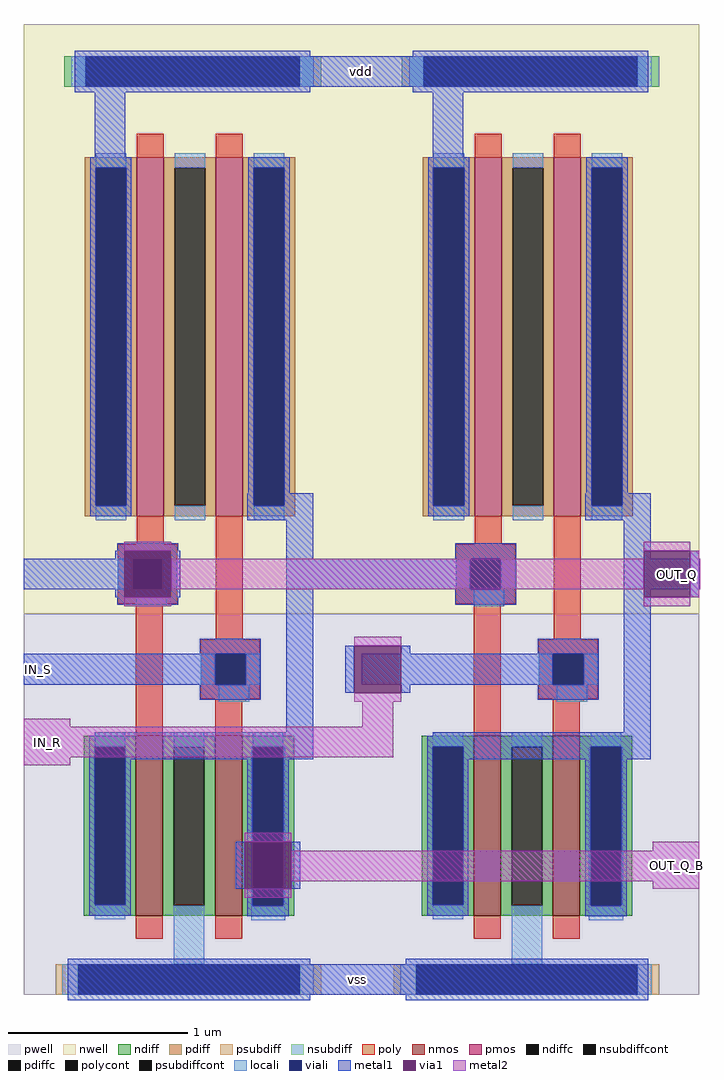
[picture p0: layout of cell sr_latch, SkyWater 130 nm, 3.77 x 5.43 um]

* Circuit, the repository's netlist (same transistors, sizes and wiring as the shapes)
* NGSPICE file created from sr_latch.ext - technology: sky130A

.subckt sky130_fd_pr__pfet_01v8_7P3MHC a_n15_n190# w_n140_n200# a_n73_n164# a_15_n164#
X0 a_15_n164# a_n15_n190# a_n73_n164# w_n140_n200# sky130_fd_pr__pfet_01v8 ad=0.58 pd=4.58 as=0.58 ps=4.58 w=2 l=0.15
.ends

.subckt nor IN_A OUT vdd vss IN_B
Xsky130_fd_pr__pfet_01v8_7P3MHC_1 IN_B vdd OUT sky130_fd_pr__pfet_01v8_7P3MHC_1/a_15_n164#
+ sky130_fd_pr__pfet_01v8_7P3MHC
Xsky130_fd_pr__pfet_01v8_7P3MHC_2 IN_A vdd sky130_fd_pr__pfet_01v8_7P3MHC_1/a_15_n164#
+ vdd sky130_fd_pr__pfet_01v8_7P3MHC
X0 OUT IN_B vss vss sky130_fd_pr__nfet_01v8 ad=0.29 pd=2.58 as=0.145 ps=1.29 w=1 l=0.15
X1 vss IN_A OUT vss sky130_fd_pr__nfet_01v8 ad=0.145 pd=1.29 as=0.29 ps=2.58 w=1 l=0.15
.ends

.subckt sr_latch IN_S OUT_Q_B vdd vss IN_R OUT_Q
XX_NOR_TOP OUT_Q OUT_Q_B vdd vss IN_S nor
XX_NOR_BOTTOM OUT_Q_B OUT_Q vdd vss IN_R nor
.ends

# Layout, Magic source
magic
tech sky130A
magscale 1 2
<< metal1 >>
rect -5951 1370 -5333 1404
rect -6020 811 -5986 845
rect -5918 802 -5908 854
rect -5856 802 -5846 854
rect -5340 802 -5330 854
rect -5278 802 -5268 854
rect -6020 705 -5986 739
rect -5662 696 -5652 748
rect -5600 696 -5590 748
rect -5784 478 -5774 530
rect -5722 478 -5712 530
rect -5959 360 -5333 394
<< via1 >>
rect -5908 802 -5856 854
rect -5330 802 -5278 854
rect -5652 696 -5600 748
rect -5774 478 -5722 530
<< metal2 >>
rect -5908 854 -5856 864
rect -5330 854 -5278 864
rect -5856 811 -5330 845
rect -5908 792 -5856 802
rect -5278 845 -5268 854
rect -5278 811 -5267 845
rect -5278 802 -5268 811
rect -5330 792 -5278 802
rect -5652 748 -5600 758
rect -5652 686 -5600 696
rect -6020 658 -5968 667
rect -5643 658 -5609 686
rect -6020 624 -5609 658
rect -6020 615 -5968 624
rect -5774 530 -5722 540
rect -5320 520 -5268 530
rect -5722 486 -5268 520
rect -5320 478 -5268 486
rect -5774 468 -5722 478
use nor  X_NOR_BOTTOM
transform 1 0 -4445 0 1 -180
box -1199 534 -823 1620
use nor  X_NOR_TOP
transform 1 0 -4821 0 1 -180
box -1199 534 -823 1620
<< labels >>
flabel metal2 -6020 615 -5968 667 3 FreeSans 320 0 0 0 IN_R
port 1 e default input
flabel metal1 -6020 705 -5986 739 3 FreeSans 320 0 0 0 IN_S
port 0 e default input
flabel metal2 -5320 802 -5268 854 7 FreeSans 320 0 0 0 OUT_Q
port 2 w default output
flabel metal2 -5320 478 -5268 530 7 FreeSans 320 0 0 0 OUT_Q_B
port 3 w default output
flabel metal1 -5959 360 -5337 394 0 FreeSans 320 0 0 0 vss
port 5 nsew default bidirectional
flabel metal1 -5951 1370 -5337 1404 0 FreeSans 320 0 0 0 vdd
port 4 nsew default bidirectional
<< end >>

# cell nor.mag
magic
tech sky130A
magscale 1 2
<< nwell >>
rect -1199 964 -823 1620
<< pwell >>
rect -1199 540 -823 964
<< nmos >>
rect -1074 628 -1044 828
rect -986 628 -956 828
<< ndiff >>
rect -1132 816 -1074 828
rect -1132 640 -1120 816
rect -1086 640 -1074 816
rect -1132 628 -1074 640
rect -1044 816 -986 828
rect -1044 639 -1032 816
rect -998 639 -986 816
rect -1044 628 -986 639
rect -956 816 -898 828
rect -956 639 -944 816
rect -910 639 -898 816
rect -956 628 -898 639
<< ndiffc >>
rect -1120 640 -1086 816
rect -1032 639 -998 816
rect -944 639 -910 816
<< psubdiff >>
rect -1163 540 -1138 574
rect -892 540 -868 574
<< nsubdiff >>
rect -1154 1550 -1130 1584
rect -892 1550 -868 1584
<< psubdiffcont >>
rect -1138 540 -892 574
<< nsubdiffcont >>
rect -1130 1550 -892 1584
<< poly >>
rect -1073 1048 -1044 1072
rect -1073 1041 -1043 1048
rect -1094 1025 -1028 1041
rect -1094 991 -1078 1025
rect -1044 991 -1028 1025
rect -1094 975 -1028 991
rect -1074 828 -1044 975
rect -985 935 -955 1072
rect -1002 919 -936 935
rect -1002 885 -986 919
rect -952 885 -936 919
rect -1002 869 -936 885
rect -986 866 -952 869
rect -986 828 -956 866
rect -1074 602 -1044 628
rect -986 602 -956 628
<< polycont >>
rect -1078 991 -1044 1025
rect -986 885 -952 919
<< locali >>
rect -1146 1550 -1130 1584
rect -892 1550 -876 1584
rect -1094 991 -1078 1025
rect -1044 991 -1028 1025
rect -1074 972 -1040 991
rect -1002 885 -986 919
rect -952 885 -936 919
rect -982 866 -948 885
rect -1120 816 -1086 832
rect -1120 624 -1086 640
rect -1032 816 -998 832
rect -944 816 -910 832
rect -1032 574 -998 639
rect -946 639 -944 816
rect -910 639 -908 816
rect -946 623 -908 639
rect -1156 540 -1138 574
rect -892 540 -876 574
<< viali >>
rect -1130 1550 -892 1584
rect -1119 1084 -1085 1460
rect -943 1084 -909 1460
rect -1078 991 -1044 1025
rect -986 885 -952 919
rect -1120 640 -1086 816
rect -944 639 -910 816
rect -1138 540 -892 574
<< metal1 >>
rect -1142 1584 -880 1590
rect -1142 1550 -1130 1584
rect -892 1550 -880 1584
rect -1142 1544 -880 1550
rect -1120 1472 -1086 1544
rect -1125 1460 -1079 1472
rect -1125 1084 -1119 1460
rect -1085 1084 -1079 1460
rect -949 1460 -903 1472
rect -949 1098 -943 1460
rect -1125 1072 -1079 1084
rect -950 1084 -943 1098
rect -909 1098 -903 1460
rect -909 1084 -877 1098
rect -950 1068 -877 1084
rect -1095 1025 -1027 1042
rect -1199 991 -1078 1025
rect -1044 991 -1027 1025
rect -1095 974 -1027 991
rect -907 1025 -877 1068
rect -907 991 -823 1025
rect -1003 919 -935 936
rect -1199 885 -986 919
rect -952 885 -935 919
rect -1003 868 -935 885
rect -907 832 -877 991
rect -1120 828 -877 832
rect -1126 816 -877 828
rect -1126 640 -1120 816
rect -1086 802 -944 816
rect -1086 640 -1080 802
rect -1126 628 -1080 640
rect -950 639 -944 802
rect -910 802 -877 816
rect -910 639 -904 802
rect -950 627 -904 639
rect -1150 574 -880 580
rect -1150 540 -1138 574
rect -892 540 -880 574
rect -1150 534 -880 540
use sky130_fd_pr__pfet_01v8_7P3MHC  sky130_fd_pr__pfet_01v8_7P3MHC_1
transform -1 0 -971 0 1 1236
box -141 -200 138 276
use sky130_fd_pr__pfet_01v8_7P3MHC  sky130_fd_pr__pfet_01v8_7P3MHC_2
transform -1 0 -1059 0 1 1236
box -141 -200 138 276
<< labels >>
flabel metal1 -1199 991 -1165 1025 3 FreeSans 160 0 0 0 IN_A
port 0 e default input
flabel metal1 -1199 885 -1165 919 3 FreeSans 160 0 0 0 IN_B
port 1 e default input
flabel metal1 -857 991 -823 1025 7 FreeSans 160 0 0 0 OUT
port 2 w default output
flabel metal1 -1130 1550 -892 1584 0 FreeSans 320 0 0 0 vdd
port 3 nsew default bidirectional
flabel metal1 -1138 540 -892 574 0 FreeSans 320 0 0 0 vss
port 4 nsew default bidirectional
<< end >>

# cell sky130_fd_pr__pfet_01v8_7P3MHC: kit device sky130_fd_pr__pfet_01v8, w 2.0 l 0.15 m 1 nf 1 diffcov 100 polycov 100 guard 1 glc 0 grc 0 gtc 1 gbc 0 tbcov 100 rlcov 100 topc 0 botc 1 poverlap 0 doverlap 1 lmin 0.15 wmin 0.42 compatible {sky130_fd_pr__pfet_01v8 sky130_fd_pr__pfet_01v8_lvt sky130_fd_pr__pfet_01v8_hvt sky130_fd_pr__pfet_g5v0d10v5} full_metal 0 viasrc 100 viadrn 100 viagate 100 viagb 0 viagr 0 viagl 0 viagt 0
